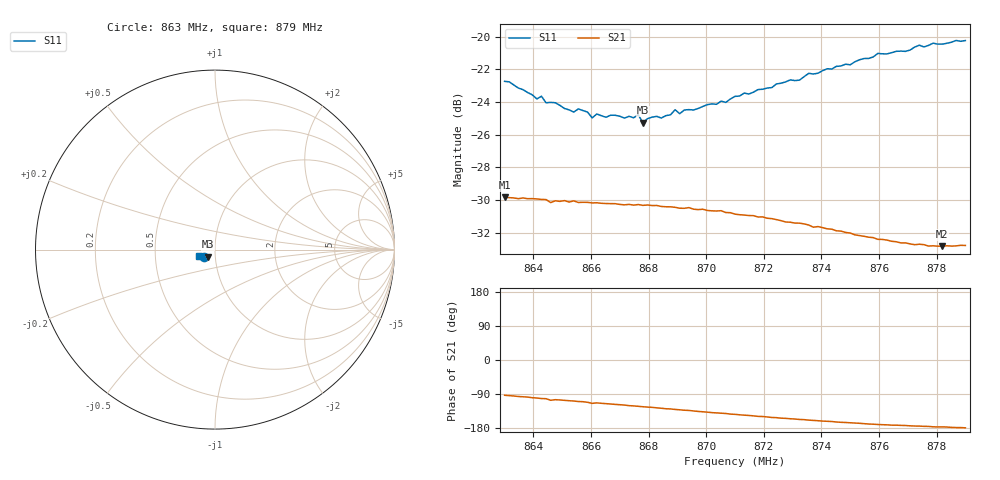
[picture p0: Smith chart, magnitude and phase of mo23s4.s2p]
# HZ S RI R 50
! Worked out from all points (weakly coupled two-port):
!   101 points, 863 MHz to 879 MHz, reference 50 ohm
!   highest |S21| = -29.83 dB at 863 MHz (marker M1); lowest = -32.8 dB at 878.2 MHz (marker M2)
!   lowest |S11| = -25.3 dB at 867.8 MHz (marker M3), VSWR 1.12, Z = 46.2 - j3.63 ohm
!   |S11| at or under -10 dB: start of sweep to end of sweep
!   S12 and S22 are empty: the file has one direction only
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8.63e8  -0.0604 -0.0411  -0.00173 -0.0322  0 0  0 0
8.6412e8  -0.0526 -0.0373  -0.0057 -0.0314  0 0  0 0
8.6428e8  -0.0526 -0.0394  -0.00645 -0.0311  0 0  0 0
8.6444e8  -0.0509 -0.0367  -0.00667 -0.031  0 0  0 0
8.6476e8  -0.051 -0.0366  -0.00799 -0.0304  0 0  0 0
8.654e8  -0.0462 -0.0364  -0.00985 -0.0299  0 0  0 0
8.6572e8  -0.0456 -0.0381  -0.0107 -0.0293  0 0  0 0
8.6604e8  -0.0438 -0.0355  -0.0128 -0.0282  0 0  0 0
8.662e8  -0.0448 -0.0369  -0.0122 -0.0285  0 0  0 0
8.6716e8  -0.0402 -0.0394  -0.0148 -0.0268  0 0  0 0
8.6764e8  -0.0405 -0.0411  -0.0163 -0.0259  0 0  0 0
8.678e8  -0.038 -0.0392  -0.0168 -0.0255  0 0  0 0
8.6812e8  -0.0389 -0.0412  -0.0174 -0.0249  0 0  0 0
8.6844e8  -0.038 -0.0416  -0.0183 -0.0241  0 0  0 0
8.6892e8  -0.0392 -0.0451  -0.0195 -0.0229  0 0  0 0
8.6908e8  -0.0383 -0.0437  -0.0198 -0.0224  0 0  0 0
8.7068e8  -0.0396 -0.0489  -0.0226 -0.0182  0 0  0 0
8.71e8  -0.0411 -0.0512  -0.023 -0.0171  0 0  0 0
8.7372e8  -0.0525 -0.0562  -0.0245 -0.00919  0 0  0 0
8.7644e8  -0.0725 -0.0522  -0.0234 -0.00332  0 0  0 0
8.782e8  -0.0846 -0.0429  -0.0228 -0.0014  0 0  0 0
8.79e8  -0.0896 -0.0379  -0.023 -0.000403  0 0  0 0
